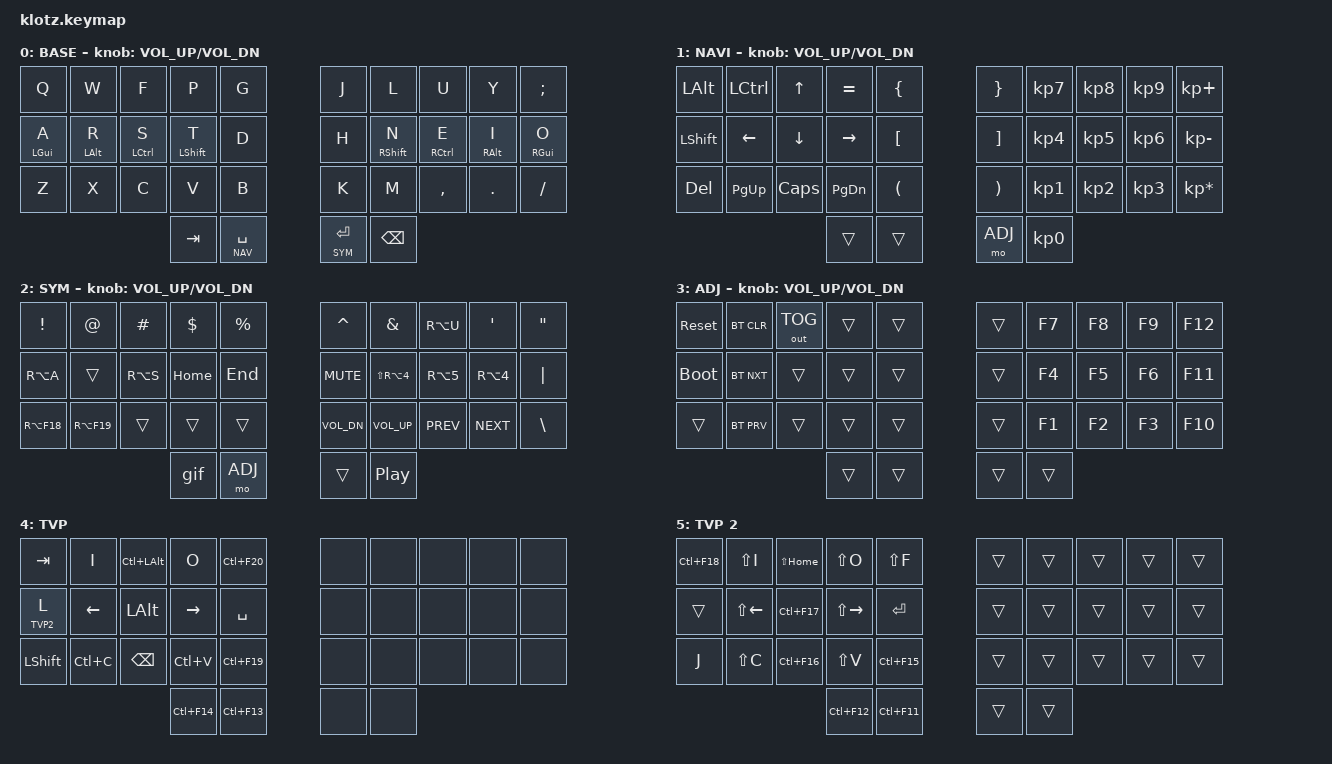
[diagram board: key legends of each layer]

//                                      █         ██        ▄▀▀▀▀▀▀▀▀▀▀█▀▀▀▀▀▀▀▀█▀▀▀▀▀▀▀▀▀▀█
//                                      █        █ █      ▄▀            ▀▄      █         █
//                                      █       █  █    ▄▀                ▀▄    █        █
//                                      █      █   █   █                    █   █       █
//                                      █     █    █   █                    █   █      █
//                                      █    █     █   █                    █   █  ▀▀▀█▀▀▀▀
//                                      █   █ █    █   █                    █   █    █
//                                      █  █   █   █   █                    █   █   █
//                                      █ █     █  █    ▀▄                ▄▀    █  █
//                                      ██       █ █      ▀▄            ▄▀      █ █
//                                      █         ██▄▄▄▄▄▄▄▄█▄▄▄▄▄▄▄▄▄▄▀        ██▄▄▄▄▄▄▄▄▄▄
//
// ▄▄▄▄▄▄▄▄▄▄▄▄▄▄▄▄▄▄▄▄▄▄▄▄▄▄▄▄▄▄▄▄▄▄▄▄▄▄▄▄▄▄▄▄▄▄▄▄▄▄▄▄▄▄▄▄▄▄▄▄▄▄▄▄▄▄▄▄▄▄▄▄▄▄▄▄▄▄▄▄▄▄▄▄▄▄▄▄▄▄▄▄▄▄▄▄▄▄▄▄▄▄▄▄▄▄▄▄▄▄▄▄▄▄▄▄▄▄▄▄▄▄▄▄▄
       

#include <behaviors.dtsi>
#include <dt-bindings/zmk/keys.h>
#include <dt-bindings/zmk/bt.h>
#include <dt-bindings/zmk/outputs.h>

#define BASE 0
#define NAV  1
#define SYM  2
#define ADJ  3
#define TVP1 4
#define TVP2 5

&mt {
  quick-tap-ms = <100>;
  global-quick-tap;
  flavor = "tap-preferred";
  tapping-term-ms = <300>;
};

/ {
     combos {
            compatible = "zmk,combos";
            combo_esc {
                timeout-ms = <50>;
                key-positions = <0 1>;
                bindings = <&kp ESC>;
            };
            combo_grave {
                timeout-ms = <50>;
                key-positions = <1 2>;
                bindings = <&kp GRAVE>;
            };
            combo_tvp {
                timeout-ms = <100>;
                key-positions = <11 12 13>;
                bindings = <&tog TVP1>;
            };
            combo_eql {
              timeout-ms = <100>;
              key-positions = <8 9>;
              bindings = <&kp EQL>;
            };
            combo_sqt {
              timeout-ms = <20>;
              key-positions = <7 8>;
              bindings = <&kp SQT>;
            };
            combo_hyphen {
              timeout-ms = <20>;
              key-positions = <6 7>;
              bindings = <&kp MINUS>;
            };
    };

    macros {
        gif: gif {
            label = "giphy";
            compatible = "zmk,behavior-macro";
            #binding-cells = <0>;
            bindings
                = <&macro_press &kp LSHFT>
                , <&macro_tap &kp N2>
                , <&macro_release &kp LSHFT>
                , <&macro_tap &kp G &kp I &kp F>
                ;
        };
    };

        keymap {
                compatible = "zmk,keymap";
// ▄▄▄▄▄▄▄▄▄▄▄▄▄▄▄▄▄▄▄▄▄▄▄▄▄▄▄▄▄▄▄▄▄▄▄▄▄▄▄▄▄▄▄▄▄▄▄▄▄▄▄▄▄▄▄▄▄▄▄▄▄▄▄▄▄▄▄▄▄▄▄▄▄▄▄▄▄▄▄▄▄▄▄▄▄▄▄▄▄▄▄▄▄▄▄▄▄▄▄▄▄▄▄▄▄▄▄▄▄▄▄▄▄▄▄▄▄▄▄▄▄▄▄▄▄


                base_layer {
// ┏━━━━━━━━━━━━━━━━━━━━━━━━━━━━━━━━━━━━━━━┓
label= "BASE"                              ;
// ┗━━━━━━━━━━━━━━━━━━━━━━━━━━━━━━━━━━━━━━━┛
// ┏━━━━━━━━━━━┳━━━━━━━━━━━┳━━━━━━━━━━━┳━━━━━━━━━━━┳━━━━━━━━━━━┓   ┏━━━━━━━━━━━┳━━━━━━━━━━━┳━━━━━━━━━━━┳━━━━━━━━━━━┳━━━━━━━━━━━┓
// ┃     Q     ┃     W     ┃     F     ┃     P     ┃     G     ┃   ┃     J     ┃     L     ┃     U     ┃     Y     ┃     ;     ┃
// ┣━━━━━━━━━━━╋━━━━━━━━━━━╋━━━━━━━━━━━╋━━━━━━━━━━━╋━━━━━━━━━━━┫   ┣━━━━━━━━━━━╋━━━━━━━━━━━╋━━━━━━━━━━━╋━━━━━━━━━━━╋━━━━━━━━━━━┫
// ┃     A     ┃     R     ┃     S     ┃     T     ┃     D     ┃   ┃     H     ┃     N     ┃     E     ┃     I     ┃     O     ┃
// ┣━━━━━━━━━━━╋━━━━━━━━━━━╋━━━━━━━━━━━╋━━━━━━━━━━━╋━━━━━━━━━━━┫   ┣━━━━━━━━━━━╋━━━━━━━━━━━╋━━━━━━━━━━━╋━━━━━━━━━━━╋━━━━━━━━━━━┫
// ┃     Z     ┃     X     ┃     C     ┃     V     ┃     B     ┃   ┃     K     ┃     M     ┃     ,     ┃     .     ┃     /     ┃
// ┗━━━━━━━━━━━┻━━━━━━━━━━━┻━━━━━━━━━━━╋━━━━━━━━━━━╋━━━━━━━━━━━┫   ┣━━━━━━━━━━━╋━━━━━━━━━━━╋━━━━━━━━━━━┻━━━━━━━━━━━┻━━━━━━━━━━━┛
//                                     ┃    TAB    ┃    SPC    ┃   ┃   ENTER   ┃   BSPC    ┃
//                                     ┗━━━━━━━━━━━┻━━━━━━━━━━━┛   ┗━━━━━━━━━━━┻━━━━━━━━━━━┛
 bindings = <
// ╷           ╷           ╷           ╷           ╷           ╷   ╷           ╷           ╷           ╷           ╷           ╷

    &kp Q       &kp W       &kp F       &kp P       &kp G           &kp J       &kp L       &kp U       &kp Y       &kp SEMI
    &mt LGUI A  &mt LALT R  &mt LCTRL S &mt LSHFT T &kp D           &kp H       &mt RSHFT N &mt RCTRL E &mt RALT I  &mt RGUI O
    &kp Z       &kp X       &kp C       &kp V       &kp B           &kp K       &kp M       &kp COMMA   &kp DOT     &kp FSLH
                                        &kp TAB     &lt NAV SPACE   &lt SYM RET &kp BSPC    
                        >;
            sensor-bindings = <&inc_dec_kp C_VOL_UP C_VOL_DN>;
                };

// ▄▄▄▄▄▄▄▄▄▄▄▄▄▄▄▄▄▄▄▄▄▄▄▄▄▄▄▄▄▄▄▄▄▄▄▄▄▄▄▄▄▄▄▄▄▄▄▄▄▄▄▄▄▄▄▄▄▄▄▄▄▄▄▄▄▄▄▄▄▄▄▄▄▄▄▄▄▄▄▄▄▄▄▄▄▄▄▄▄▄▄▄▄▄▄▄▄▄▄▄▄▄▄▄▄▄▄▄▄▄▄▄▄▄▄▄▄▄▄▄▄▄▄▄▄


                nav_layer {
// ┏━━━━━━━━━━━━━━━━━━━━━━━━━━━━━━━━━━━━━━━┓
label= "NAVI"                              ;
// ┗━━━━━━━━━━━━━━━━━━━━━━━━━━━━━━━━━━━━━━━┛
// ┏━━━━━━━━━━━┳━━━━━━━━━━━┳━━━━━━━━━━━┳━━━━━━━━━━━┳━━━━━━━━━━━┓   ┏━━━━━━━━━━━┳━━━━━━━━━━━┳━━━━━━━━━━━┳━━━━━━━━━━━┳━━━━━━━━━━━┓
// ┃           ┃           ┃     UP    ┃           ┃     {     ┃   ┃     }     ┃     7     ┃     8     ┃     9     ┃     +     ┃
// ┣━━━━━━━━━━━╋━━━━━━━━━━━╋━━━━━━━━━━━╋━━━━━━━━━━━╋━━━━━━━━━━━┫   ┣━━━━━━━━━━━╋━━━━━━━━━━━╋━━━━━━━━━━━╋━━━━━━━━━━━╋━━━━━━━━━━━┫
// ┃   SHIFT   ┃   LEFT    ┃    DOWN   ┃   RIGHT   ┃     [     ┃   ┃     ]     ┃     4     ┃     5     ┃     6     ┃     -     ┃
// ┣━━━━━━━━━━━╋━━━━━━━━━━━╋━━━━━━━━━━━╋━━━━━━━━━━━╋━━━━━━━━━━━┫   ┣━━━━━━━━━━━╋━━━━━━━━━━━╋━━━━━━━━━━━╋━━━━━━━━━━━╋━━━━━━━━━━━┫
// ┃           ┃   P UP    ┃  C LOCK   ┃  P DOWN   ┃     (     ┃   ┃     )     ┃     1     ┃     2     ┃     3     ┃     *     ┃
// ┗━━━━━━━━━━━┻━━━━━━━━━━━┻━━━━━━━━━━━╋━━━━━━━━━━━╋━━━━━━━━━━━┫   ┣━━━━━━━━━━━╋━━━━━━━━━━━╋━━━━━━━━━━━┻━━━━━━━━━━━┻━━━━━━━━━━━┛
//                                     ┃           ┃           ┃   ┃    DEL    ┃     0     ┃  
//                                     ┗━━━━━━━━━━━┻━━━━━━━━━━━┛   ┗━━━━━━━━━━━┻━━━━━━━━━━━┛
 bindings = <
// ╷           ╷           ╷           ╷           ╷           ╷   ╷           ╷           ╷           ╷           ╷           ╷

    &kp LALT    &kp LCTRL   &kp UP      &kp EQUAL   &kp LBRC        &kp RBRC    &kp KP_N7   &kp KP_N8   &kp KP_N9   &kp KP_PLUS
    &kp LSHFT   &kp LEFT    &kp DOWN    &kp RIGHT   &kp LBKT        &kp RBKT    &kp KP_N4   &kp KP_N5   &kp KP_N6   &kp KP_MINUS
    &kp DEL     &kp PG_UP   &kp CAPS    &kp PG_DN   &kp LPAR        &kp RPAR    &kp KP_N1   &kp KP_N2   &kp KP_N3   &kp KP_MULTIPLY
                                        &trans      &trans          &mo ADJ     &kp KP_N0  
                        >;
            sensor-bindings = <&inc_dec_kp C_VOL_UP C_VOL_DN>;
                };

// ▄▄▄▄▄▄▄▄▄▄▄▄▄▄▄▄▄▄▄▄▄▄▄▄▄▄▄▄▄▄▄▄▄▄▄▄▄▄▄▄▄▄▄▄▄▄▄▄▄▄▄▄▄▄▄▄▄▄▄▄▄▄▄▄▄▄▄▄▄▄▄▄▄▄▄▄▄▄▄▄▄▄▄▄▄▄▄▄▄▄▄▄▄▄▄▄▄▄▄▄▄▄▄▄▄▄▄▄▄▄▄▄▄▄▄▄▄▄▄▄▄▄▄▄▄


                sim_layer {
// ┏━━━━━━━━━━━━━━━━━━━━━━━━━━━━━━━━━━━━━━━┓
label= "SYM"                               ;
// ┗━━━━━━━━━━━━━━━━━━━━━━━━━━━━━━━━━━━━━━━┛
// ┏━━━━━━━━━━━┳━━━━━━━━━━━┳━━━━━━━━━━━┳━━━━━━━━━━━┳━━━━━━━━━━━┓   ┏━━━━━━━━━━━┳━━━━━━━━━━━┳━━━━━━━━━━━┳━━━━━━━━━━━┳━━━━━━━━━━━┓
// ┃     !     ┃     @     ┃     #     ┃     $     ┃     %     ┃   ┃     ˆ     ┃     &     ┃     Ü     ┃     '     ┃     "     ┃
// ┣━━━━━━━━━━━╋━━━━━━━━━━━╋━━━━━━━━━━━╋━━━━━━━━━━━╋━━━━━━━━━━━┫   ┣━━━━━━━━━━━╋━━━━━━━━━━━╋━━━━━━━━━━━╋━━━━━━━━━━━╋━━━━━━━━━━━┫
// ┃     Ä     ┃           ┃    SZ     ┃           ┃           ┃   ┃   MUTE    ┃   YEN     ┃   EURO    ┃  POUND    ┃    ┃      ┃
// ┣━━━━━━━━━━━╋━━━━━━━━━━━╋━━━━━━━━━━━╋━━━━━━━━━━━╋━━━━━━━━━━━┫   ┣━━━━━━━━━━━╋━━━━━━━━━━━╋━━━━━━━━━━━╋━━━━━━━━━━━╋━━━━━━━━━━━┫
// ┃  EMAIL1   ┃  EMAIL2   ┃           ┃           ┃           ┃   ┃   VOL-    ┃   VOL+    ┃   LAST    ┃   NEXT    ┃     \     ┃
// ┗━━━━━━━━━━━┻━━━━━━━━━━━┻━━━━━━━━━━━╋━━━━━━━━━━━╋━━━━━━━━━━━┫   ┣━━━━━━━━━━━╋━━━━━━━━━━━╋━━━━━━━━━━━┻━━━━━━━━━━━┻━━━━━━━━━━━┛
//                                     ┃    GIF    ┃  ADJUST   ┃   ┃           ┃   PLAY    ┃   
//                                     ┗━━━━━━━━━━━┻━━━━━━━━━━━┛   ┗━━━━━━━━━━━┻━━━━━━━━━━━┛
 bindings = <
// ╷           ╷           ╷           ╷           ╷           ╷   ╷           ╷           ╷           ╷           ╷           ╷

    &kp EXCL    &kp AT      &kp HASH    &kp DLLR    &kp PRCNT       &kp CARET   &kp AMPS    &kp RA(U)   &kp SQT     &kp DQT       
    &kp RA(A)   &trans      &kp RA(S)   &kp HOME    &kp END         &kp C_MUTE  &kp LS(RA(N4)) &kp RA(N5) &kp RA(N4)   &kp PIPE 
    &kp RA(F18) &kp RA(F19) &trans      &trans      &trans          &kp C_VOL_DN &kp C_VOL_UP &kp C_PREV &kp C_NEXT  &kp BSLH      
                                        &gif        &mo ADJ         &trans      &kp C_PP
                        >;
                sensor-bindings = <&inc_dec_kp C_VOL_UP C_VOL_DN>;
                };

// ▄▄▄▄▄▄▄▄▄▄▄▄▄▄▄▄▄▄▄▄▄▄▄▄▄▄▄▄▄▄▄▄▄▄▄▄▄▄▄▄▄▄▄▄▄▄▄▄▄▄▄▄▄▄▄▄▄▄▄▄▄▄▄▄▄▄▄▄▄▄▄▄▄▄▄▄▄▄▄▄▄▄▄▄▄▄▄▄▄▄▄▄▄▄▄▄▄▄▄▄▄▄▄▄▄▄▄▄▄▄▄▄▄▄▄▄▄▄▄▄▄▄▄▄▄


                adjust_layer {
// ┏━━━━━━━━━━━━━━━━━━━━━━━━━━━━━━━━━━━━━━━┓
label= "ADJ"                               ;
// ┗━━━━━━━━━━━━━━━━━━━━━━━━━━━━━━━━━━━━━━━┛
// ┏━━━━━━━━━━━┳━━━━━━━━━━━┳━━━━━━━━━━━┳━━━━━━━━━━━┳━━━━━━━━━━━┓   ┏━━━━━━━━━━━┳━━━━━━━━━━━┳━━━━━━━━━━━┳━━━━━━━━━━━┳━━━━━━━━━━━┓
// ┃   RESET   ┃ BT CLEAR  ┃  OUT TOG  ┃           ┃           ┃   ┃           ┃    F7     ┃    F8     ┃    F9     ┃    F12    ┃
// ┣━━━━━━━━━━━╋━━━━━━━━━━━╋━━━━━━━━━━━╋━━━━━━━━━━━╋━━━━━━━━━━━┫   ┣━━━━━━━━━━━╋━━━━━━━━━━━╋━━━━━━━━━━━╋━━━━━━━━━━━╋━━━━━━━━━━━┫
// ┃ BOOTLOAD  ┃ BT NEXT   ┃           ┃           ┃           ┃   ┃           ┃    F4     ┃    F5     ┃    F6     ┃    F11    ┃
// ┣━━━━━━━━━━━╋━━━━━━━━━━━╋━━━━━━━━━━━╋━━━━━━━━━━━╋━━━━━━━━━━━┫   ┣━━━━━━━━━━━╋━━━━━━━━━━━╋━━━━━━━━━━━╋━━━━━━━━━━━╋━━━━━━━━━━━┫
// ┃           ┃ BT PREV   ┃           ┃           ┃           ┃   ┃           ┃    F1     ┃    F2     ┃    F3     ┃    F10    ┃
// ┗━━━━━━━━━━━┻━━━━━━━━━━━┻━━━━━━━━━━━╋━━━━━━━━━━━╋━━━━━━━━━━━┫   ┣━━━━━━━━━━━╋━━━━━━━━━━━╋━━━━━━━━━━━┻━━━━━━━━━━━┻━━━━━━━━━━━┛
//                                     ┃           ┃           ┃   ┃           ┃           ┃
//                                     ┗━━━━━━━━━━━┻━━━━━━━━━━━┛   ┗━━━━━━━━━━━┻━━━━━━━━━━━┛
 bindings = <
// ╷           ╷           ╷           ╷           ╷           ╷   ╷           ╷           ╷           ╷           ╷           ╷

    &sys_reset  &bt BT_CLR &out OUT_TOG &trans      &trans          &trans      &kp F7      &kp F8      &kp F9      &kp F12
    &bootloader &bt BT_NXT  &trans      &trans      &trans          &trans      &kp F4      &kp F5      &kp F6      &kp F11  
    &trans      &bt BT_PRV  &trans      &trans      &trans          &trans      &kp F1      &kp F2      &kp F3      &kp F10     
                                        &trans      &trans          &trans      &trans
                        >;
            sensor-bindings = <&inc_dec_kp C_VOL_UP C_VOL_DN>;
                };

// ▄▄▄▄▄▄▄▄▄▄▄▄▄▄▄▄▄▄▄▄▄▄▄▄▄▄▄▄▄▄▄▄▄▄▄▄▄▄▄▄▄▄▄▄▄▄▄▄▄▄▄▄▄▄▄▄▄▄▄▄▄▄▄▄▄▄▄▄▄▄▄▄▄▄▄▄▄▄▄▄▄▄▄▄▄▄▄▄▄▄▄▄▄▄▄▄▄▄▄▄▄▄▄▄▄▄▄▄▄▄▄▄▄▄▄▄▄▄▄▄▄▄▄▄▄



                tvp1_layer {
// ┏━━━━━━━━━━━━━━━━━━━━━━━━━━━━━━━━━━━━━━━┓
label= "TVP"                               ;
// ┗━━━━━━━━━━━━━━━━━━━━━━━━━━━━━━━━━━━━━━━┛
// ┏━━━━━━━━━━━┳━━━━━━━━━━━┳━━━━━━━━━━━┳━━━━━━━━━━━┳━━━━━━━━━━━┓   ┏━━━━━━━━━━━┳━━━━━━━━━━━┳━━━━━━━━━━━┳━━━━━━━━━━━┳━━━━━━━━━━━┓
// ┃ NEXT FILE ┃ MARK IN   ┃ ROTATE    ┃ MARK OUT  ┃ SHOW SNAP ┃   ┃           ┃           ┃           ┃           ┃           ┃
// ┣━━━━━━━━━━━╋━━━━━━━━━━━╋━━━━━━━━━━━╋━━━━━━━━━━━╋━━━━━━━━━━━┫   ┣━━━━━━━━━━━╋━━━━━━━━━━━╋━━━━━━━━━━━╋━━━━━━━━━━━╋━━━━━━━━━━━┫
// ┃ TVP II    ┃ LEFT      ┃ PAN       ┃ RIGHT     ┃ PLAY/FLIP ┃   ┃           ┃           ┃           ┃           ┃           ┃
// ┣━━━━━━━━━━━╋━━━━━━━━━━━╋━━━━━━━━━━━╋━━━━━━━━━━━╋━━━━━━━━━━━┫   ┣━━━━━━━━━━━╋━━━━━━━━━━━╋━━━━━━━━━━━╋━━━━━━━━━━━╋━━━━━━━━━━━┫
// ┃ SHIFT     ┃ COPY      ┃ DELETE    ┃ PASTE     ┃ IMG MARK  ┃   ┃           ┃           ┃           ┃           ┃           ┃
// ┗━━━━━━━━━━━┻━━━━━━━━━━━┻━━━━━━━━━━━╋━━━━━━━━━━━╋━━━━━━━━━━━┫   ┣━━━━━━━━━━━╋━━━━━━━━━━━╋━━━━━━━━━━━┻━━━━━━━━━━━┻━━━━━━━━━━━┛
//                                     ┃ UNDO/SAVE ┃  SEL/MOV  ┃   ┃           ┃           ┃
//                                     ┗━━━━━━━━━━━┻━━━━━━━━━━━┛   ┗━━━━━━━━━━━┻━━━━━━━━━━━┛
 bindings = <
// ╷           ╷           ╷           ╷           ╷           ╷   ╷           ╷           ╷           ╷           ╷           ╷

    &kp TAB     &kp I       &kp LC(LALT) &kp O      &kp LC(F20)     &none       &none       &none       &none       &none
    &lt TVP2 L  &kp LEFT    &kp LALT    &kp RIGHT   &kp SPACE       &none       &none       &none       &none       &none
    &kp LSHFT   &kp LC(C)   &kp BSPC    &kp LC(V)   &kp LC(F19)     &none       &none       &none       &none       &none
                                        &kp LC(F14) &kp LC(F13)     &none       &none    
                          >;
                };

// ▄▄▄▄▄▄▄▄▄▄▄▄▄▄▄▄▄▄▄▄▄▄▄▄▄▄▄▄▄▄▄▄▄▄▄▄▄▄▄▄▄▄▄▄▄▄▄▄▄▄▄▄▄▄▄▄▄▄▄▄▄▄▄▄▄▄▄▄▄▄▄▄▄▄▄▄▄▄▄▄▄▄▄▄▄▄▄▄▄▄▄▄▄▄▄▄▄▄▄▄▄▄▄▄▄▄▄▄▄▄▄▄▄▄▄▄▄▄▄▄▄▄▄▄▄


                tvp2_layer {
// ┏━━━━━━━━━━━━━━━━━━━━━━━━━━━━━━━━━━━━━━━┓
label= "TVP 2"                             ;
// ┗━━━━━━━━━━━━━━━━━━━━━━━━━━━━━━━━━━━━━━━┛
// ┏━━━━━━━━━━━┳━━━━━━━━━━━┳━━━━━━━━━━━┳━━━━━━━━━━━┳━━━━━━━━━━━┓   ┏━━━━━━━━━━━┳━━━━━━━━━━━┳━━━━━━━━━━━┳━━━━━━━━━━━┳━━━━━━━━━━━┓
// ┃ SOLO      ┃ TOGGLE IN ┃ RESET ROT ┃ TOGGLE OUT┃ TAKE SNAP ┃   ┃           ┃           ┃           ┃           ┃           ┃
// ┣━━━━━━━━━━━╋━━━━━━━━━━━╋━━━━━━━━━━━╋━━━━━━━━━━━╋━━━━━━━━━━━┫   ┣━━━━━━━━━━━╋━━━━━━━━━━━╋━━━━━━━━━━━╋━━━━━━━━━━━╋━━━━━━━━━━━┫
// ┃ ---       ┃ LAST KEY  ┃ NEW KEY   ┃ NEXT KEY  ┃ ENTER     ┃   ┃           ┃           ┃           ┃           ┃           ┃
// ┣━━━━━━━━━━━╋━━━━━━━━━━━╋━━━━━━━━━━━╋━━━━━━━━━━━╋━━━━━━━━━━━┫   ┣━━━━━━━━━━━╋━━━━━━━━━━━╋━━━━━━━━━━━╋━━━━━━━━━━━╋━━━━━━━━━━━┫
// ┃ FULLSCR   ┃ CPY2BRUSH ┃ DEL HEAD  ┃ PSTinPLACE┃ BOOK MARK ┃   ┃           ┃           ┃           ┃           ┃           ┃
// ┗━━━━━━━━━━━┻━━━━━━━━━━━┻━━━━━━━━━━━╋━━━━━━━━━━━╋━━━━━━━━━━━┫   ┣━━━━━━━━━━━╋━━━━━━━━━━━╋━━━━━━━━━━━┻━━━━━━━━━━━┻━━━━━━━━━━━┛
//                                     ┃ REDO/SAV1 ┃TRANS/WARP ┃   ┃           ┃           ┃
//                                     ┗━━━━━━━━━━━┻━━━━━━━━━━━┛   ┗━━━━━━━━━━━┻━━━━━━━━━━━┛
 bindings = <
// ╷           ╷           ╷           ╷           ╷           ╷   ╷           ╷           ╷           ╷           ╷           ╷

    &kp LC(F18) &kp LS(I)  &kp LS(HOME) &kp LS(O)   &kp LS(F)       &trans      &trans      &trans      &trans      &trans      
    &trans      &kp LS(LEFT) &kp LC(F17) &kp LS(RIGHT) &kp RET      &trans      &trans      &trans      &trans      &trans      
    &kp J       &kp LS(C)   &kp LC(F16) &kp LS(V)   &kp LC(F15)     &trans      &trans      &trans      &trans      &trans      
                                        &kp LC(F12) &kp LC(F11)     &trans      &trans
                          >;
                };
        };
};
